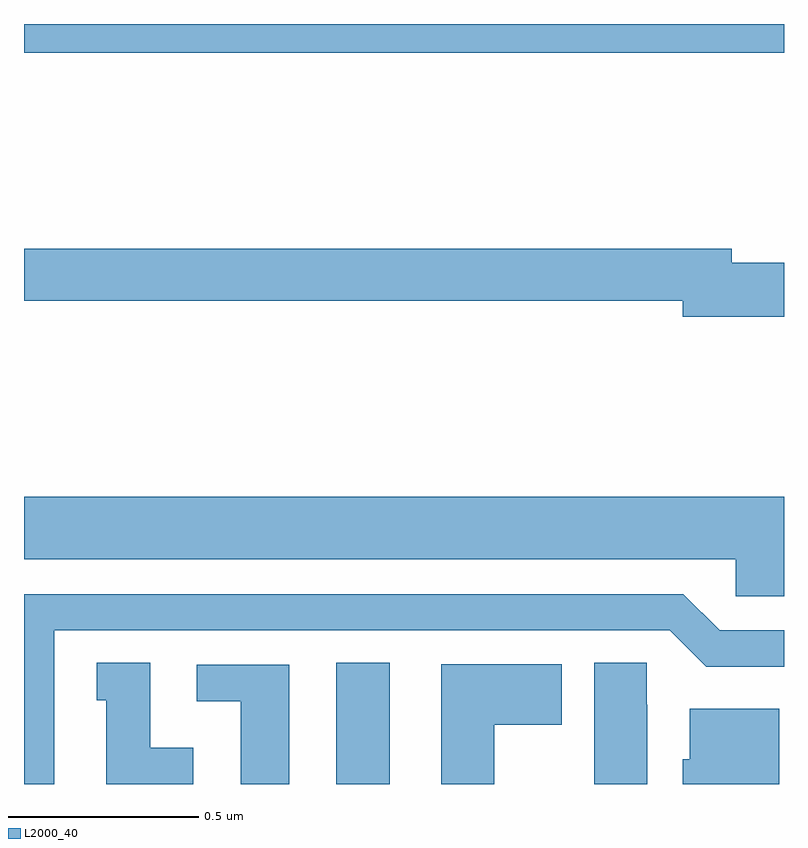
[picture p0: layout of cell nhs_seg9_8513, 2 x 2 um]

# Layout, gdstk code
import gdstk
lib = gdstk.Library(unit=1e-6, precision=1e-09)
def R(c, l, rs):  # rectangles x0, y0, x1, y1
    for r in rs: c.add(gdstk.rectangle(r[:2], r[2:], *l))
def P(c, l, *ps):  # polygons
    for p in ps: c.add(gdstk.Polygon(p, *l))
L2000_40 = (2000, 40)

nhs_seg9_8513 = lib.new_cell('nhs_seg9_8513')
R(nhs_seg9_8513, L2000_40, [(218.822,1190.5,218.962,1190.819), (218,1192.424,220,1192.5)])
P(nhs_seg9_8513, L2000_40, [(220,1191.872),(219.862,1191.872),(219.862,1191.908),(218,1191.908),(218,1191.772),(219.734,1191.772),(219.734,1191.73),(220,1191.73)],
  [(220,1191.256),(218,1191.256),(218,1191.092),(219.873,1191.092),(219.873,1190.994),(220,1190.994)],
  [(218.08,1190.904),(219.699,1190.904),(219.795,1190.808),(220,1190.808),(220,1190.904),(219.831,1190.904),(219.735,1191),(218,1191),(218,1190.5),(218.08,1190.5)],
  [(218.446,1190.596),(218.332,1190.596),(218.332,1190.819),(218.192,1190.819),(218.192,1190.721),(218.216,1190.721),(218.216,1190.5),(218.446,1190.5)],
  [(219.64,1190.708),(219.639,1190.708),(219.639,1190.819),(219.5,1190.819),(219.5,1190.5),(219.64,1190.5)],
  [(219.238,1190.656),(219.415,1190.656),(219.415,1190.815),(219.098,1190.815),(219.098,1190.5),(219.238,1190.5)],
  [(218.698,1190.814),(218.454,1190.814),(218.454,1190.718),(218.57,1190.718),(218.57,1190.5),(218.698,1190.5)],
  [(219.988,1190.698),(219.752,1190.698),(219.752,1190.565),(219.734,1190.565),(219.734,1190.5),(219.988,1190.5)])

lib.write_gds('nhs_seg9_8513.gds')
